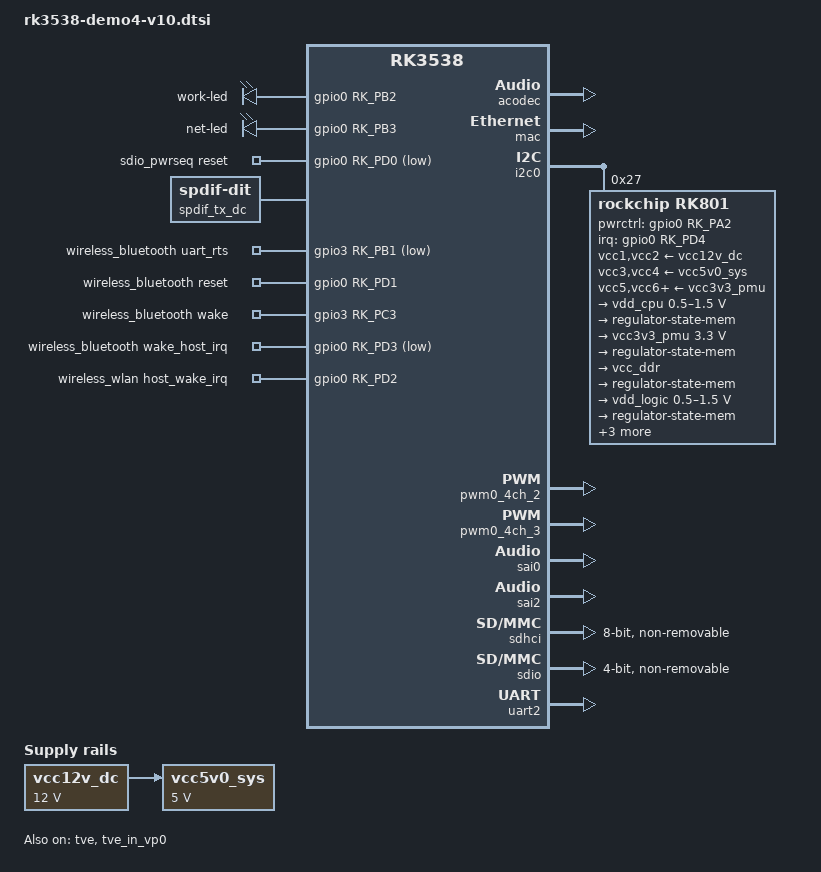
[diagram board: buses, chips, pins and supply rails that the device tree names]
// SPDX-License-Identifier: (GPL-2.0+ OR MIT)
/*
 * Copyright (c) 2025 Rockchip Electronics Co., Ltd.
 *
 */

/dts-v1/;

#include "rk3538.dtsi"
#include "rk3538-evb-input-keymap.dtsi"
#include "rk3538-demo.dtsi"

/{
	acodec_sound: acodec-sound {
		status = "okay";
		compatible = "simple-audio-card";
		simple-audio-card,name = "rockchip,rk3538-acodec";
		simple-audio-card,format = "i2s";
		simple-audio-card,mclk-fs = <256>;
		simple-audio-card,cpu {
			sound-dai = <&sai2>;
		};
		simple-audio-card,codec {
			sound-dai = <&acodec>;
		};
	};

	bt_sco: bt-sco {
		status = "okay";
		compatible = "delta,dfbmcs320";
		#sound-dai-cells = <1>;
	};

	bt_sound: bt-sound {
		status = "okay";
		compatible = "simple-audio-card";
		simple-audio-card,format = "dsp_a";
		simple-audio-card,bitclock-inversion;
		simple-audio-card,mclk-fs = <256>;
		simple-audio-card,name = "rockchip,bt";
		simple-audio-card,cpu {
			sound-dai = <&sai0>;
		};
		simple-audio-card,codec {
			sound-dai = <&bt_sco 1>;
		};
	};

	gpio-leds {
		compatible = "gpio-leds";

		work-led {
			gpios = <&gpio0 RK_PB2 GPIO_ACTIVE_HIGH>;
			linux,default-trigger = "timer";
			default-state = "on";
		};
		net-led {
			gpios = <&gpio0 RK_PB3 GPIO_ACTIVE_HIGH>;
			linux,default-trigger = "none";
			default-state = "off";
		};
	};

	sdio_pwrseq: sdio-pwrseq {
		compatible = "mmc-pwrseq-simple";
		pinctrl-names = "default";
		pinctrl-0 = <&wifi_enable_h &sdio_reset>;
		post-power-on-delay-ms = <200>;
		reset-gpios = <&gpio0 RK_PD0 GPIO_ACTIVE_LOW>;
		status = "okay";
	};

	spdif_tx_dc: spdif-tx-dc {
		compatible = "linux,spdif-dit";
		#sound-dai-cells = <0>;
	};

	spdif_tx_sound: spdif-tx-sound {
		status = "disabled";
		compatible = "simple-audio-card";
		simple-audio-card,name = "ROCKCHIP,SPDIF";
		simple-audio-card,mclk-fs = <128>;
		simple-audio-card,cpu {
			sound-dai = <&spdif_tx>;
		};
		simple-audio-card,codec {
			sound-dai = <&spdif_tx_dc>;
		};
	};

	vcc12v_dc: vcc12v-dc {
		compatible = "regulator-fixed";
		regulator-name = "vcc12v_dc";
		regulator-always-on;
		regulator-boot-on;
		regulator-min-microvolt = <12000000>;
		regulator-max-microvolt = <12000000>;
	};

	vcc5v0_sys: vcc5v0-sys {
		compatible = "regulator-fixed";
		regulator-name = "vcc5v0_sys";
		regulator-always-on;
		regulator-boot-on;
		regulator-min-microvolt = <5000000>;
		regulator-max-microvolt = <5000000>;
		vin-supply = <&vcc12v_dc>;
	};

	wireless_bluetooth: wireless-bluetooth {
		compatible = "bluetooth-platdata";
		uart_rts_gpios = <&gpio3 RK_PB1 GPIO_ACTIVE_LOW>;
		pinctrl-names = "default", "rts_gpio";
		pinctrl-0 = <&uart2m0_rtsn_pins>;
		pinctrl-1 = <&uart2m0_gpios>;
		BT,reset_gpio    = <&gpio0 RK_PD1 GPIO_ACTIVE_HIGH>;
		BT,wake_gpio     = <&gpio3 RK_PC3 GPIO_ACTIVE_HIGH>;
		BT,wake_host_irq = <&gpio0 RK_PD3 GPIO_ACTIVE_LOW>;
		status = "okay";
	};

	wireless_wlan: wireless-wlan {
		compatible = "wlan-platdata";
		wifi_chip_type = "sw6621";
		pinctrl-names = "default";
		pinctrl-0 = <&wifi_host_wake_irq>;
		WIFI,host_wake_irq = <&gpio0 RK_PD2 GPIO_ACTIVE_HIGH>;
		status = "okay";
	};
};

&acodec {
	pa-ctl-gpios = <&gpio0 RK_PA1 GPIO_ACTIVE_HIGH>;
	status = "okay";
};

&cpu0 {
	cpu-supply = <&vdd_cpu>;
};

&cpu2 {
	cpu-supply = <&vdd_cpu>;
};

&mac {
	status = "okay";
};

&gpu {
	mali-supply = <&vdd_logic>;
};

&i2c0 {
	status = "okay";
	pinctrl-names = "default";
	pinctrl-0 = <&i2c0m0_pins>;

	rk801: rk801@27 {
		compatible = "rockchip,rk801";
		status = "okay";
		reg = <0x27>;
		interrupt-parent = <&gpio0>;
		interrupts = <RK_PD4 IRQ_TYPE_LEVEL_LOW>;
		pwrctrl-gpios = <&gpio0 RK_PA2 GPIO_ACTIVE_HIGH>;

		pinctrl-names = "default", "pmic-reset";
		pinctrl-0 = <&pmic_int>;
		pinctrl-1 = <&soc_pwrctrl_reset>;
		rockchip,system-power-controller;
		wakeup-source;

		vcc1-supply = <&vcc12v_dc>;
		vcc2-supply = <&vcc12v_dc>;
		vcc3-supply = <&vcc5v0_sys>;
		vcc4-supply = <&vcc5v0_sys>;
		vcc5-supply = <&vcc3v3_pmu>;
		vcc6-supply = <&vcc3v3_pmu>;
		vcc7-supply = <&vcc3v3_pmu>;

		regulators {
			vdd_cpu: DCDC_REG1 {
				regulator-name = "vdd_cpu";
				regulator-min-microvolt = <500000>;
				regulator-max-microvolt = <1500000>;
				regulator-initial-mode = <0x1>;
				regulator-boot-on;
				regulator-always-on;
				regulator-state-mem {
					regulator-mode = <0x2>;
					regulator-off-in-suspend;
				};
			};

			vcc3v3_pmu: DCDC_REG2 {
				regulator-name = "vcc3v3_pmu";
				regulator-min-microvolt = <3300000>;
				regulator-max-microvolt = <3300000>;
				regulator-initial-mode = <0x1>;
				regulator-boot-on;
				regulator-always-on;
				regulator-state-mem {
					regulator-mode = <0x2>;
					regulator-on-in-suspend;
					regulator-suspend-microvolt = <3300000>;
				};
			};

			vcc_ddr: DCDC_REG3 {
				regulator-name = "vcc_ddr";
				regulator-boot-on;
				regulator-always-on;
				regulator-state-mem {
					regulator-mode = <0x2>;
					regulator-on-in-suspend;
				};
			};

			vdd_logic: DCDC_REG4 {
				regulator-name = "vdd_logic";
				regulator-min-microvolt = <500000>;
				regulator-max-microvolt = <1500000>;
				regulator-initial-mode = <0x1>;
				regulator-boot-on;
				regulator-always-on;
				regulator-state-mem {
					regulator-mode = <0x2>;
					regulator-on-in-suspend;
					regulator-suspend-microvolt = <900000>;
				};
			};

			vdd_0v9: LDO_REG1 {
				regulator-name = "vdd_0v9";
				regulator-min-microvolt = <900000>;
				regulator-max-microvolt = <900000>;
				regulator-boot-on;
				regulator-always-on;
				regulator-state-mem {
					regulator-on-in-suspend;
					regulator-suspend-microvolt = <900000>;
				};
			};

			vcc1v8_pmu: LDO_REG2 {
				regulator-name = "vcc1v8_pmu";
				regulator-min-microvolt = <1800000>;
				regulator-max-microvolt = <1800000>;
				regulator-boot-on;
				regulator-always-on;
				regulator-state-mem {
					regulator-on-in-suspend;
					regulator-suspend-microvolt = <1800000>;
				};
			};

			vcc_3v3: SWITCH_REG {
				regulator-name = "vcc_3v3";
				regulator-boot-on;
				regulator-always-on;
				regulator-state-mem {
					regulator-on-in-suspend;
				};
			};
		};
	};
};

&pinctrl {
	pmic {
		pmic_int: pmic-int {
			rockchip,pins = <0 RK_PD4 RK_FUNC_GPIO &pcfg_pull_up>;
		};

		soc_pwrctrl_reset: soc-pwrctrl-reset {
			rockchip,pins = <0 RK_PA2 RK_FUNC_GPIO &pcfg_output_high>;
		};
	};

	sdio-pwrseq {
		wifi_enable_h: wifi-enable-h {
			rockchip,pins = <0 RK_PD0 RK_FUNC_GPIO &pcfg_pull_none>;
		};
	};

	wireless-bluetooth {
		uart2m0_gpios: uart2m0-gpios {
			rockchip,pins = <3 RK_PB1 RK_FUNC_GPIO &pcfg_pull_none>;
		};
	};

	wireless-wlan {
		wifi_host_wake_irq: wifi-host-wake-irq {
			rockchip,pins = <0 RK_PD2 RK_FUNC_GPIO &pcfg_pull_down>;
		};

		sdio_reset: sdio-reset {
			rockchip,pins = <3 RK_PA6 RK_FUNC_GPIO &pcfg_output_high>;
		};
	};
};

&pwm0_4ch_2 {
	status = "okay";
};

&pwm0_4ch_3 {
	pinctrl-0 = <&pwm0m1_ch3_pins>;
	status = "okay";
};

&sai0 {
	status = "okay";
};

&sai2 {
	status = "okay";
};

&sdhci {
	bus-width = <8>;
	max-frequency = <200000000>;
	mmc-hs400-1_8v;
	mmc-hs400-enhanced-strobe;
	no-sd;
	no-sdio;
	non-removable;
	status = "okay";
};

&sdio {
	max-frequency = <200000000>;
	no-sd;
	no-mmc;
	bus-width = <4>;
	cap-sd-highspeed;
	cap-sdio-irq;
	keep-power-in-suspend;
	non-removable;
	pinctrl-names = "default";
	pinctrl-0 = <&sdio_bus4_pins &sdio_cmd_pins &sdio_clk_pins>;
	sd-uhs-sdr104;
	mmc-pwrseq = <&sdio_pwrseq>;
	status = "okay";
};

&tve {
	status = "okay";
};

&tve_in_vp0 {
	status = "okay";
};

&uart2 {
	status = "okay";
	pinctrl-names = "default";
	pinctrl-0 = <&uart2m0_xfer_pins &uart2m0_ctsn_pins>;
};

&rockchip_suspend {
	status = "okay";
	rockchip,sleep-debug-en = <1>;
	rockchip,virtual-poweroff = <1>;
	rockchip,sleep-mode-config = <
		(0
		| RKPM_SLP_DEEP1_MODE
		//| RKPM_SLP_PMIC_LP
		| RKPM_SLP_HW_PLLS_OFF
		| RKPM_SLP_PMUALIVE_32K
		//| RKPM_SLP_OSC_DIS
		//| RKPM_SLP_32K_EXT
		)
	>;
};
